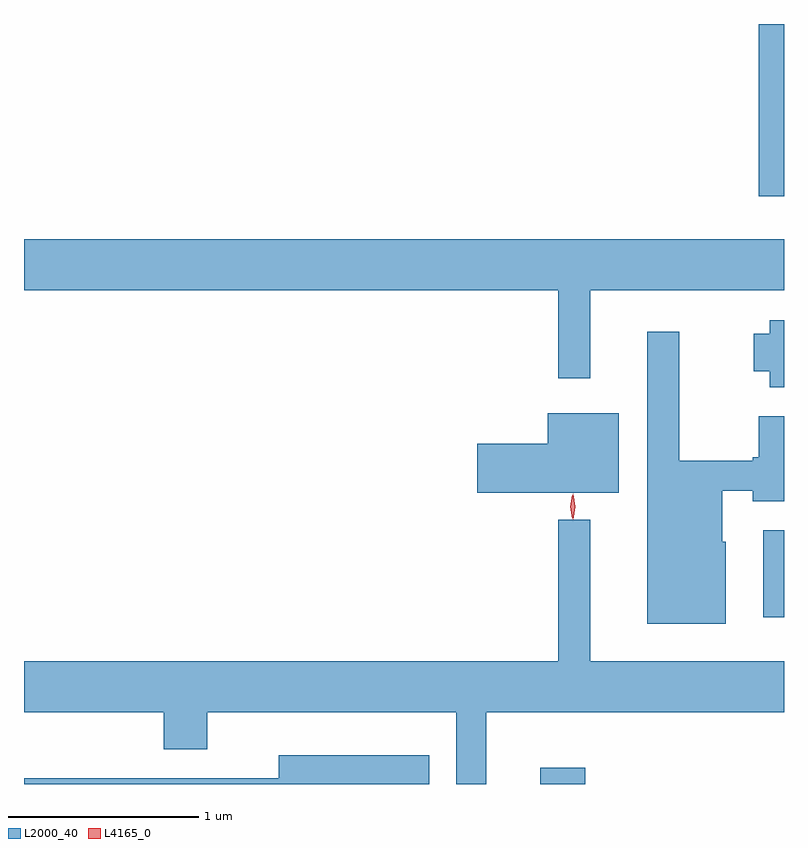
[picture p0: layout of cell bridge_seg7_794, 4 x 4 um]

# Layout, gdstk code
import gdstk
lib = gdstk.Library(unit=1e-6, precision=1e-09)
def R(c, l, rs):  # rectangles x0, y0, x1, y1
    for r in rs: c.add(gdstk.rectangle(r[:2], r[2:], *l))
def P(c, l, *ps):  # polygons
    for p in ps: c.add(gdstk.Polygon(p, *l))
L2000_40 = (2000, 40)
L4165_0 = (4165, 0)

bridge_seg7_794 = lib.new_cell('bridge_seg7_794')
R(bridge_seg7_794, L2000_40, [(326.256,1749.458,326.494,1749.544), (327.431,1750.336,327.54,1750.794), (327.406,1752.551,327.54,1753.458)])
P(bridge_seg7_794, L2000_40, [(326.519,1752.056),(327.54,1752.056),(327.54,1752.324),(323.54,1752.324),(323.54,1752.056),(326.351,1752.056),(326.351,1751.593),(326.519,1751.593)],
  [(327.54,1751.899),(327.466,1751.899),(327.466,1751.829),(327.381,1751.829),(327.381,1751.631),(327.466,1751.631),(327.466,1751.546),(327.54,1751.546)],
  [(327.234,1750.734),(327.214,1750.734),(327.214,1751.001),(327.376,1751.001),(327.376,1750.946),(327.54,1750.946),(327.54,1751.394),(327.406,1751.394),(327.406,1751.179),(327.376,1751.179),(327.376,1751.159),(326.989,1751.159),(326.989,1751.838),(326.821,1751.838),(326.821,1750.301),(327.234,1750.301)],
  [(326.669,1751.409),(326.296,1751.409),(326.296,1751.249),(325.926,1751.249),(325.926,1750.991),(326.669,1750.991)],
  [(325.974,1749.836),(327.54,1749.836),(327.54,1750.104),(326.519,1750.104),(326.519,1750.848),(326.351,1750.848),(326.351,1750.104),(323.54,1750.104),(323.54,1749.836),(324.276,1749.836),(324.276,1749.641),(324.504,1749.641),(324.504,1749.836),(325.816,1749.836),(325.816,1749.458),(325.974,1749.458)],
  [(325.673,1749.609),(324.881,1749.609),(324.881,1749.489),(323.54,1749.489),(323.54,1749.458),(325.673,1749.458)])
P(bridge_seg7_794, L4165_0, [(326.43,1750.85),(326.42,1750.918),(326.43,1750.985),(326.43,1750.986),(326.43,1750.985),(326.44,1750.918),(326.432,1750.85),(326.431,1750.85)],
  [(326.425,1750.853),(326.416,1750.916),(326.425,1750.98),(326.425,1750.98),(326.426,1750.98),(326.435,1750.916),(326.426,1750.853),(326.426,1750.853)])

lib.write_gds('bridge_seg7_794.gds')
